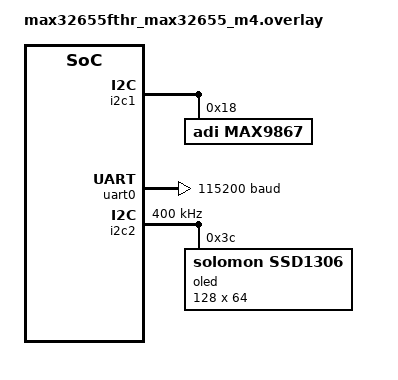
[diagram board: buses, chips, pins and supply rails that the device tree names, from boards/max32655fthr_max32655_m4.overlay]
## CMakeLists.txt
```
# SPDX-License-Identifier: Apache-2.0

cmake_minimum_required(VERSION 3.20.0)
find_package(Zephyr REQUIRED HINTS $ENV{ZEPHYR_BASE})
project(zephyr-sentinel)

target_sources(app PRIVATE
    src/main.c
    src/audio.c
    src/controls.c
    src/display.c
    src/font5x8.c
)
```

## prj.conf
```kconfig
CONFIG_GPIO=y
CONFIG_I2S=y
CONFIG_I2C=y
CONFIG_DISPLAY=y
CONFIG_CHARACTER_FRAMEBUFFER=y
CONFIG_HEAP_MEM_POOL_SIZE=4096
```

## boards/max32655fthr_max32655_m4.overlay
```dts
/*
 * MAX32655FTHR onboard MAX9867 audio codec.
 */

&i2c1 {
	max9867: max9867@18 {
		compatible = "adi,max9867";
		reg = <0x18>;
	};
};

&uart0 {
    current-speed = <115200>;
};

/ {
    chosen {
        zephyr,display = &oled;
    };
};

&i2c2 {
    status = "okay";
    clock-frequency = <I2C_BITRATE_FAST>;
    
    oled: ssd1306@3c {
        compatible = "solomon,ssd1306";
        reg = <0x3c>;
        width = <128>;
        height = <64>;
        segment-offset = <0>;
        page-offset = <0>;
        display-offset = <0>;
        multiplex-ratio = <63>;
        segment-remap;
        com-invdir;
        prechargep = <0x22>;
    };
};
```

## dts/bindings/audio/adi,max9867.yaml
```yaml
description: MAX9867 audio codec

compatible: "adi,max9867"

include: i2c-device.yaml
```

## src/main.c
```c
#include <zephyr/kernel.h>
#include <zephyr/sys/printk.h>
#include <zephyr/drivers/uart.h>

#include "audio.h"
#include "controls.h"
#include "display.h"

/* 0：关闭串口音频输出；1：开启串口音频输出 */
#define AUDIO_UART_DEBUG 0

/* 应用层音频缓冲，与 audio.c 中的 I2S 接收内存池分开管理。 */
#define APP_AUDIO_BLOCK_SIZE  512
#define APP_AUDIO_BLOCK_COUNT 4
#define AUDIO_GAIN 8

/* 采集线程负责 I2S 启停和读取，处理线程消费音频块。 */
#define CAPTURE_STACK_SIZE 1024
#define PROCESS_STACK_SIZE 1024

#define CAPTURE_PRIORITY 5
#define PROCESS_PRIORITY 7

K_THREAD_STACK_DEFINE(capture_stack, CAPTURE_STACK_SIZE);
K_THREAD_STACK_DEFINE(process_stack, PROCESS_STACK_SIZE);

static struct k_thread capture_thread;
static struct k_thread process_thread;

#if AUDIO_UART_DEBUG
static const struct device *uart_dev = DEVICE_DT_GET(DT_CHOSEN(zephyr_console));
#endif

K_MEM_SLAB_DEFINE_STATIC(app_audio_slab, APP_AUDIO_BLOCK_SIZE,
                         APP_AUDIO_BLOCK_COUNT, 4);

struct audio_block
{
    /* 入队成功后由处理线程释放；NULL 表示本次录音的结束标记。 */
    void *buffer;
    size_t size;
};

enum control_cmd
{
    CMD_TOGGLE_RECORDING,
};

/* 控制队列仅由采集线程接收，避免启停操作与音频读取并发。 */
K_MSGQ_DEFINE(control_msgq, sizeof(enum control_cmd), 4, 4);
K_MSGQ_DEFINE(audio_msgq, sizeof(struct audio_block), APP_AUDIO_BLOCK_COUNT, 4);

/* 处理线程收到结束标记后，通知采集线程：已归还本次录音的缓冲。 */
K_SEM_DEFINE(audio_drained, 0, 1);

/* controls 只报告按下事件，由应用层把事件解释为录音切换指令。 */
static void record_button_pressed(void)
{
    enum control_cmd cmd = CMD_TOGGLE_RECORDING;
    int ret = k_msgq_put(&control_msgq, &cmd, K_NO_WAIT);
    if (ret != 0)
    {
        printk("Control queue full: %d\n", ret);
    }
}

static void audio_capture_task(void *p1, void *p2, void *p3)
{
    while (1)
    {
        /* 待机：没有指令时阻塞，不读取音频。 */
        enum control_cmd cmd;

        int ret = k_msgq_get(&control_msgq, &cmd, K_FOREVER);
        if (ret != 0 || cmd != CMD_TOGGLE_RECORDING)
        {
            continue;
        }

        ret = audio_start();
        if (ret != 0)
        {
            continue;
        }

        ret = controls_set_recording_led(true);
        if (ret != 0)
        {
            printk("LED on failed: %d\n", ret);
        }

        printk("Audio started\n");

        /* 统计读取成功的块数，包含因应用队列已满而丢弃的块。 */
        uint32_t blocks = 0;
        int read_error = 0;
        /* 录音：检查停止指令，并持续采集。 */
        while (1)
        {
            ret = k_msgq_get(&control_msgq, &cmd, K_NO_WAIT);
            if (ret == 0 && cmd == CMD_TOGGLE_RECORDING)
            {
                break;
            }

            void *buffer;
            /* 有限等待，避免一直等内存而无法检查停止指令。 */
            ret = k_mem_slab_alloc(&app_audio_slab, &buffer, K_MSEC(20));
            if (ret != 0)
            {
                continue;
            }

            size_t size;
            ret = audio_read(buffer, APP_AUDIO_BLOCK_SIZE, &size);
            if (ret != 0)
            {
                k_mem_slab_free(&app_audio_slab, buffer);
                read_error = ret;
                break;
            }

            struct audio_block block =
            {
                .buffer = buffer,
                .size = size,
            };

            ret = k_msgq_put(&audio_msgq, &block, K_NO_WAIT);
            if (ret != 0)
            {
                /* 入队失败，缓冲仍归采集线程所有，必须在这里归还。 */
                k_mem_slab_free(&app_audio_slab, buffer);
            }

            blocks++;
        }
        /* 停止产生新的音频块。 */
        ret = audio_stop();
        if (ret != 0)
        {
            printk("Audio stop failed: %d;reset required\n", ret);
            return;
        }
        /* 结束标记排在已有音频块后，让处理线程按队列顺序完成收尾。 */
        struct audio_block end_marker =
        {
            .buffer = NULL,
            .size = 0,
        };
        ret = k_msgq_put(&audio_msgq, &end_marker, K_FOREVER);
        if (ret != 0)
        {
            printk("Audio end marker failed: %d; reset required\n", ret);
            return;
        }

        k_sem_take(&audio_drained, K_FOREVER);

        ret = controls_set_recording_led(false);
        if (ret != 0)
        {
            printk("LED off failed: %d\n", ret);
        }
        if (read_error != 0)
        {
            printk("Audio read failed:%d\n", read_error);
        }

        printk("Audio stopped, captured blocks: %u\n", (unsigned int)blocks);
    }
}

/* 消费音频块、处理结束标记，并按需输出串口调试音频。 */
static void audio_process_task(void *p1, void *p2, void *p3)
{
    while (1)
    {
        struct audio_block block;

        k_msgq_get(&audio_msgq, &block, K_FOREVER);

        /* 空指针作为结束标记，不代表真实的音频内存块，无需释放。 */
        if (block.buffer == NULL)
        {
            k_sem_give(&audio_drained);
            continue;
        }
#if AUDIO_UART_DEBUG
        uint32_t *slots = (uint32_t *)block.buffer;
        size_t count = block.size / sizeof(uint32_t);

        /* MAX9867 places its 16-bit sample at the MSB end of each 32-bit slot. */
        for (size_t i = 0; i < count; i++)
        {
            int32_t amplified = (int32_t)(int16_t)(slots[i] >> 16) * AUDIO_GAIN;

            if (amplified > INT16_MAX)
            {
                amplified = INT16_MAX;
            }
            else if (amplified < INT16_MIN)
            {
                amplified = INT16_MIN;
            }

            uint16_t sample = (uint16_t)(int16_t)amplified;

            /* WAV PCM is little-endian, independent of the MCU memory layout. */
            uart_poll_out(uart_dev, sample & 0xff);
            uart_poll_out(uart_dev, sample >> 8);
        }
#endif
        k_mem_slab_free(&app_audio_slab, block.buffer);
    }
}

int main(void)
{
    int ret = app_display_init();
    app_display_draw_layout(DISPLAY_MODE_16);
    
    ret = controls_init(record_button_pressed);
    if (ret != 0)
    {
        printk("Button/LED init failed: %d\n", ret);
        return 0;
    }

    if (audio_init() != 0)
    {
        printk("Audio init failed\n");
        return 0;
    }

    printk("Ready: press SW2 to record\n");

    /* 先准备消费者，再启动可能产生音频块的采集线程。 */
    k_thread_create(&process_thread, process_stack,
                    K_THREAD_STACK_SIZEOF(process_stack), audio_process_task,
                    NULL, NULL, NULL, PROCESS_PRIORITY, 0, K_NO_WAIT);
    k_thread_create(&capture_thread, capture_stack,
                    K_THREAD_STACK_SIZEOF(capture_stack), audio_capture_task,
                    NULL, NULL, NULL, CAPTURE_PRIORITY, 0, K_NO_WAIT);

    return 0;
}
```

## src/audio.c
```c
#include "audio.h"
#include <string.h>
#include <zephyr/kernel.h>
#include <zephyr/device.h>
#include <zephyr/drivers/i2s.h>
#include <zephyr/drivers/i2c.h>
#include <zephyr/sys/printk.h>

#define AUDIO_BLOCK_SIZE 512
#define AUDIO_BLOCK_COUNT  4

static const struct device *i2s_dev;

/*
 * I2S RX 驱动使用的固定内存池。
 * DMA / I2S 驱动先把数据放到这些 block 中。
 */
K_MEM_SLAB_DEFINE_STATIC(rx_mem_slab, AUDIO_BLOCK_SIZE, AUDIO_BLOCK_COUNT, 4);

static struct i2s_config i2s_cfg =
{
    /* 64 BCLK per frame: one 32-bit time slot for each I2S channel. */
    .word_size = 32,
    .channels = 1,
    .format = I2S_FMT_DATA_FORMAT_I2S,
    /* MAX9867 提供 BCLK/LRCLK，MCU 接收外部时钟。 */
    .options =I2S_OPT_FRAME_CLK_TARGET | I2S_OPT_BIT_CLK_TARGET,
    .frame_clk_freq = 16000,
    .block_size = AUDIO_BLOCK_SIZE,
    .mem_slab = &rx_mem_slab,
    .timeout = 1000,
};

static int codec_configure(const struct i2c_dt_spec *codec)
{
    int ret;
    /*配置期间关闭音频功能*/
    ret = i2c_reg_write_byte_dt(codec,0x17,0x00);
    if (ret != 0)
    {
        return ret;
    }
    /*MCU复位不一定复位codec,先清除上次配置*/
    for (uint8_t reg = 0x04;reg <= 0x16;reg++)
    {
        ret = i2c_reg_write_byte_dt(codec, reg, 0x00);
        if(ret != 0)
        {
            printk("Codec reset reg 0x%02x failed: %d\n",reg, ret);
            return ret;
        }
    }
    static const uint8_t config[][2] = {
        {0x05, 0x10}, /* MCLK 不分频：PCLK = 12.288 MHz */
        {0x06, 0x20}, /* NI = 0x2000：采样率 16 kHz */
        {0x07, 0x00},
        {0x09, 0x01},  /* BCLK = 64 × LRCLK = 1.024 MHz */
        {0x08, 0x98}, /* codec 主模式，I2S 格式 */
        {0x0A, 0xA2}, /* 沿用 Zephyr 示例的滤波配置 */
        {0x15, 0x10}, /* 选择板载右数字麦克风，与 MAX32 单声道右槽匹配 */
        {0x0D, 0x33}, /* ADC 数字增益 0 dB */
        {0x0E, 0x4C}, /* 静音 line-in 到播放输出的通路 */
        {0x0F, 0x4C},
        {0x17, 0x82}, /* 退出关断，启用左ADC，DAC 保持关闭 */
    };
    for(size_t i =0; i < sizeof(config)/sizeof(config[0]); i++)
    {
        ret = i2c_reg_write_byte_dt(codec, config[i][0], config[i][1]);
        if(ret != 0)
        {
            printk("Codec reg 0x%02x failed: %d\n",config[i][0],ret);
            return ret;
        }
    }
    printk("Max9867 configured :16000Hz\n");
    return 0;
}

int audio_init(void)
{
    const struct i2c_dt_spec codec = I2C_DT_SPEC_GET(DT_NODELABEL(max9867));
    if (!i2c_is_ready_dt(&codec))
    {
        printk("Codec I2c bus not ready\n");
        return -ENODEV;
    }
    uint8_t revision = 0;
    int probe_ret = i2c_reg_read_byte_dt(&codec, 0xFF, &revision);
    if(probe_ret != 0)
    {
        printk("Max9867 read fail: %d\n",probe_ret);
        return probe_ret;
    }
    printk("MAX9867 revision: 0x%02x\n", revision);
    int codec_ret = codec_configure(&codec);
    if (codec_ret != 0)
    {
        printk("Max9867 configure failed: %d\n",codec_ret);
        return codec_ret;
    }

    i2s_dev = DEVICE_DT_GET(DT_NODELABEL(i2s0));

    if(!device_is_ready(i2s_dev))
    {
        printk("I2S device not ready\n");
        return -ENODEV;
    }

    int ret;

    ret = i2s_configure(i2s_dev,I2S_DIR_RX,&i2s_cfg);

    if(ret)
    {
        printk("I2S configure failed: %d\n",ret);
        return ret;
    }
    printk("Audio init OK\n");
    return 0;
}


int audio_start(void)
{
    int ret;
    ret = i2s_trigger(i2s_dev,I2S_DIR_RX,I2S_TRIGGER_START);
    if(ret)
    {
        printk("I2S start failed: %d\n", ret);

        return ret;
    }
    printk("I2S started\n");
    return 0;
}

int audio_stop(void)
{
    int ret = i2s_trigger(i2s_dev, I2S_DIR_RX, I2S_TRIGGER_DROP);
    /*
     * 当前 MAX32 驱动进入 ERROR 后，DROP 会失败。
     * 此时尝试 PREPARE，清理并恢复到 READY。
     */
    if (ret == -EIO)
    {
        ret = i2s_trigger(i2s_dev, I2S_DIR_RX, I2S_TRIGGER_PREPARE);
    }
    return ret;
}


int audio_read(void *buffer, size_t buffer_size, size_t *read_size)
{
    void *mem_block;
    size_t size;

    int ret = i2s_read(i2s_dev, &mem_block, &size);
    if (ret != 0)
    {
        return ret;
    }
    if (size > buffer_size)
    {
        k_mem_slab_free(&rx_mem_slab, mem_block);
        return -EOVERFLOW;
    }
    memcpy(buffer, mem_block, size);
    k_mem_slab_free(&rx_mem_slab, mem_block);
    *read_size = size;

    return 0;
}
```

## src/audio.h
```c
#ifndef AUDIO_H
#define AUDIO_H

#include <stddef.h>
#include <stdint.h>

/**
 * @brief 初始化音频模块
 */
int audio_init(void);

/**
 * @brief 开始采集音频
 */
int audio_start(void);

/**
 * @brief 停止采集音频，清理未交付的数据
 */
int audio_stop(void);

/**
 * @brief 获取音频数据
 */
int audio_read(void *buffer, size_t buffer_size, size_t *read_size);


#endif
```

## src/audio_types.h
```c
#ifndef AUDIO_TYPES_H
#define AUDIO_TYPES_H

#include <stdint.h>

#define SPECTRUM_MAX_BANDS 32

struct audio_features {
    float rms;
    float peak_frequency_hz;
    uint8_t bands[SPECTRUM_MAX_BANDS];
};

#endif
```

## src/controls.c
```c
#include "controls.h"

#include <errno.h>
#include <zephyr/drivers/gpio.h>
#include <zephyr/kernel.h>
#include <zephyr/sys/printk.h>

#define BUTTON_DEBOUNCE_MS 30

static const struct gpio_dt_spec button =
    GPIO_DT_SPEC_GET(DT_ALIAS(sw0), gpios);
static const struct gpio_dt_spec record_led =
    GPIO_DT_SPEC_GET(DT_ALIAS(led0), gpios);

static struct gpio_callback button_cb;
static struct k_work_delayable button_debounce_work;
static controls_button_handler_t button_pressed_handler;

static void button_debounce_handler(struct k_work *work)
{
    static int last_pressed = 0;

    /* 使用逻辑状态，GPIO 的有效电平由设备树处理。 */
    int pressed = gpio_pin_get_dt(&button);
    if (pressed < 0)
    {
        printk("Button read failed : %d\n", pressed);
        return;
    }

    if (pressed == last_pressed)
    {
        return;
    }
    last_pressed = pressed;

    /* 松开只更新状态；下一次按下才再次通知应用层。 */
    if (pressed == 0)
    {
        return;
    }

    button_pressed_handler();
}

static void button_irq_handler(const struct device *port,
                               struct gpio_callback *cb, uint32_t pins)
{
    /* 每次边沿都重新计时，等待抖动结束后再读取按键状态。 */
    k_work_reschedule(&button_debounce_work, K_MSEC(BUTTON_DEBOUNCE_MS));
}

int controls_init(controls_button_handler_t on_pressed)
{
    if (on_pressed == NULL)
    {
        return -EINVAL;
    }

    if (!gpio_is_ready_dt(&button) || !gpio_is_ready_dt(&record_led))
    {
        return -ENODEV;
    }

    int ret = gpio_pin_configure_dt(&button, GPIO_INPUT);
    if (ret != 0)
    {
        return ret;
    }

    ret = gpio_pin_configure_dt(&record_led, GPIO_OUTPUT_INACTIVE);
    if (ret != 0)
    {
        return ret;
    }

    /* 应用回调、消抖工作和 GPIO 回调都就绪后，才允许按键中断。 */
    button_pressed_handler = on_pressed;
    k_work_init_delayable(&button_debounce_work, button_debounce_handler);
    gpio_init_callback(&button_cb, button_irq_handler, BIT(button.pin));

    ret = gpio_add_callback(button.port, &button_cb);
    if (ret != 0)
    {
        return ret;
    }

    return gpio_pin_interrupt_configure_dt(&button, GPIO_INT_EDGE_BOTH);
}

int controls_set_recording_led(bool recording)
{
    return gpio_pin_set_dt(&record_led, recording);
}
```

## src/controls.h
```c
#ifndef CONTROLS_H
#define CONTROLS_H

#include <stdbool.h>

/*
 * 消抖后，每次确认按下时调用一次。
 * 回调在系统工作队列中执行，只适合投递消息等短操作，不应阻塞等待。
 */
typedef void (*controls_button_handler_t)(void);

/**
 * @brief 初始化按键和录音指示灯，指示灯初始为熄灭状态。
 * @param on_pressed 按下事件回调，不能为空。
 * @return 成功返回 0，失败返回负错误码。
 *
 * 启动时调用一次；回调所需的资源必须在调用前准备好。
 */
int controls_init(controls_button_handler_t on_pressed);

/**
 * @brief 设置录音指示灯；仅更新灯的状态，不控制音频采集。
 * @param recording true 点亮，false 熄灭。
 * @return 成功返回 0，失败返回 GPIO 驱动的负错误码。
 *
 * 必须先成功调用 controls_init()。
 */
int controls_set_recording_led(bool recording);

#endif /* CONTROLS_H */
```

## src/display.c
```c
#include "display.h"

#include <errno.h>
#include <stdbool.h>

#include <sys/errno.h>
#include <zephyr/device.h>
#include <zephyr/drivers/display.h>
#include <zephyr/display/cfb.h>
#include <zephyr/sys/printk.h>

static const struct device *oled_dev = DEVICE_DT_GET(DT_CHOSEN(zephyr_display));

static bool oled_ready = false;

static int select_small_font(void)
{
    int count = cfb_get_numof_fonts(oled_dev);

    for (int i = 0; i < count; i++) {
        uint8_t width = 0;
        uint8_t height = 0;

        int ret = cfb_get_font_size(oled_dev, i, &width, &height);

        if (ret != 0) {
            return ret;
        }

        if (width == 5 && height == 8) {
            ret = cfb_framebuffer_set_font(oled_dev, i);
            /* 字符之间增加 1 像素间距 */
            return cfb_set_kerning(oled_dev, 1);
        }
    }
    return -ENOENT;
}


int app_display_init(void)
{
    int ret;
    if (oled_ready) {
        return 0;
    }
    if (!device_is_ready(oled_dev)) {
        return -ENODEV;
    }
    /*设置单色像素格式*/
    ret = display_set_pixel_format(oled_dev, PIXEL_FORMAT_MONO01);
    /*初始化字符帧缓冲*/
    ret = cfb_framebuffer_init(oled_dev);
    /*选择字体*/
    ret = select_small_font();

    /*清空缓冲区和屏幕*/
    ret = cfb_framebuffer_clear(oled_dev, true);
    /*打开显示*/
    display_blanking_off(oled_dev);

    oled_ready = true;
    return 0;
}

int app_display_draw_layout(display_mode_t mode)
{
    int ret;
    if (!oled_ready) {
        return -ENODEV;
    }
    if (mode != DISPLAY_MODE_16 && mode != DISPLAY_MODE_32) {
        return -EINVAL;
    }

    ret = cfb_framebuffer_clear(oled_dev, false);
    /*顶部标题*/
    const char *mode_text = (mode == DISPLAY_MODE_16) ? "16CH" : "32CH";
    ret = cfb_print(oled_dev, mode_text, 0, 0);
    cfb_print(oled_dev, "FREQ:", 30, 0);
    /*标题分割线*/
    struct cfb_position top_start = {0, 9};
    struct cfb_position top_end = {127, 9};
    ret = cfb_draw_line(oled_dev, &top_start, &top_end);
    /*频谱底部边界*/
    struct cfb_position bottom_start = {0, 63};
    struct cfb_position bottom_end  = {127, 63};
    ret = cfb_draw_line(oled_dev, &bottom_start, &bottom_end);

    /*一次性提交画面*/
    return cfb_framebuffer_finalize(oled_dev);
}
```

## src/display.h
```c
#ifndef APP_DISPLAY_H
#define APP_DISPLAY_H

/* 频谱显示模式 */
typedef enum {
    DISPLAY_MODE_16 = 16,
    DISPLAY_MODE_32 = 32
} display_mode_t;

/* 初始化显示设备 */
int app_display_init(void);

/* 绘制静态界面 */
int app_display_draw_layout(display_mode_t mode);

#endif /* APP_DISPLAY_H */
```

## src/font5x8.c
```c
/*
 * 5x8 vertically packed bitmap font for Zephyr CFB.
 * Supported glyphs: space, selected punctuation, 0-9, A-Z.
 * Glyphs are indexed contiguously by ASCII from ' ' (0x20) to 'Z' (0x5a).
 * Unspecified slots are blank by design.
 * Each glyph has five column bytes, bit 0 at top, bit 7 at bottom.
 */

#include <stdint.h>
#include <zephyr/display/cfb.h>

#define FIRST_CHAR ' '
#define LAST_CHAR  'Z'
#define GLYPH(ch)  [(ch) - FIRST_CHAR]

static const uint8_t font5x8_data[LAST_CHAR - FIRST_CHAR + 1][5] = {
    GLYPH(' ') = {0x00, 0x00, 0x00, 0x00, 0x00},
    GLYPH('!') = {0x00, 0x00, 0x5F, 0x00, 0x00},
    GLYPH('#') = {0x14, 0x7F, 0x14, 0x7F, 0x14},
    GLYPH('%') = {0x63, 0x13, 0x08, 0x64, 0x63},
    GLYPH('+') = {0x08, 0x08, 0x3E, 0x08, 0x08},
    GLYPH(',') = {0x00, 0x50, 0x30, 0x00, 0x00},
    GLYPH('-') = {0x08, 0x08, 0x08, 0x08, 0x08},
    GLYPH('.') = {0x00, 0x60, 0x60, 0x00, 0x00},
    GLYPH('/') = {0x20, 0x10, 0x08, 0x04, 0x02},
    GLYPH('0') = {0x3E, 0x51, 0x49, 0x45, 0x3E},
    GLYPH('1') = {0x00, 0x42, 0x7F, 0x40, 0x00},
    GLYPH('2') = {0x42, 0x61, 0x51, 0x49, 0x46},
    GLYPH('3') = {0x21, 0x41, 0x45, 0x4B, 0x31},
    GLYPH('4') = {0x18, 0x14, 0x12, 0x7F, 0x10},
    GLYPH('5') = {0x27, 0x45, 0x45, 0x45, 0x39},
    GLYPH('6') = {0x3C, 0x4A, 0x49, 0x49, 0x30},
    GLYPH('7') = {0x01, 0x71, 0x09, 0x05, 0x03},
    GLYPH('8') = {0x36, 0x49, 0x49, 0x49, 0x36},
    GLYPH('9') = {0x06, 0x49, 0x49, 0x29, 0x1E},
    GLYPH(':') = {0x00, 0x36, 0x36, 0x00, 0x00},
    GLYPH('=') = {0x14, 0x14, 0x14, 0x14, 0x14},
    GLYPH('?') = {0x02, 0x01, 0x51, 0x09, 0x06},
    GLYPH('A') = {0x7E, 0x11, 0x11, 0x11, 0x7E},
    GLYPH('B') = {0x7F, 0x49, 0x49, 0x49, 0x36},
    GLYPH('C') = {0x3E, 0x41, 0x41, 0x41, 0x22},
    GLYPH('D') = {0x7F, 0x41, 0x41, 0x22, 0x1C},
    GLYPH('E') = {0x7F, 0x49, 0x49, 0x49, 0x41},
    GLYPH('F') = {0x7F, 0x09, 0x09, 0x09, 0x01},
    GLYPH('G') = {0x3E, 0x41, 0x49, 0x49, 0x7A},
    GLYPH('H') = {0x7F, 0x08, 0x08, 0x08, 0x7F},
    GLYPH('I') = {0x00, 0x41, 0x7F, 0x41, 0x00},
    GLYPH('J') = {0x20, 0x40, 0x41, 0x3F, 0x01},
    GLYPH('K') = {0x7F, 0x08, 0x14, 0x22, 0x41},
    GLYPH('L') = {0x7F, 0x40, 0x40, 0x40, 0x40},
    GLYPH('M') = {0x7F, 0x02, 0x0C, 0x02, 0x7F},
    GLYPH('N') = {0x7F, 0x04, 0x08, 0x10, 0x7F},
    GLYPH('O') = {0x3E, 0x41, 0x41, 0x41, 0x3E},
    GLYPH('P') = {0x7F, 0x09, 0x09, 0x09, 0x06},
    GLYPH('Q') = {0x3E, 0x41, 0x51, 0x21, 0x5E},
    GLYPH('R') = {0x7F, 0x09, 0x19, 0x29, 0x46},
    GLYPH('S') = {0x46, 0x49, 0x49, 0x49, 0x31},
    GLYPH('T') = {0x01, 0x01, 0x7F, 0x01, 0x01},
    GLYPH('U') = {0x3F, 0x40, 0x40, 0x40, 0x3F},
    GLYPH('V') = {0x1F, 0x20, 0x40, 0x20, 0x1F},
    GLYPH('W') = {0x3F, 0x40, 0x38, 0x40, 0x3F},
    GLYPH('X') = {0x63, 0x14, 0x08, 0x14, 0x63},
    GLYPH('Y') = {0x07, 0x08, 0x70, 0x08, 0x07},
    GLYPH('Z') = {0x61, 0x51, 0x49, 0x45, 0x43},
};

FONT_ENTRY_DEFINE(font5x8, 5, 8, CFB_FONT_MONO_VPACKED, font5x8_data, FIRST_CHAR, LAST_CHAR);
```
